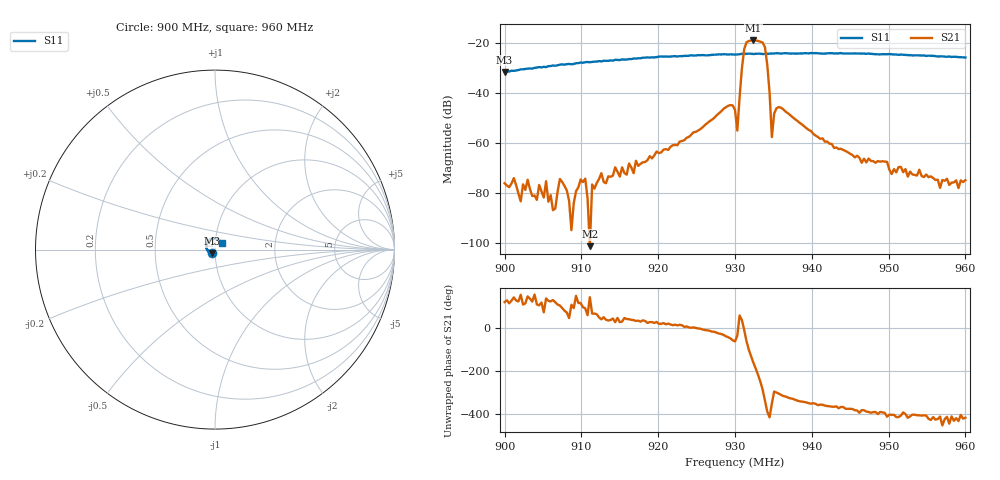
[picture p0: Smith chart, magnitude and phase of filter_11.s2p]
!File created by NanoVNA-F V2
# Hz S RI R 50
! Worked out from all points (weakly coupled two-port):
!   201 points, 900 MHz to 960 MHz, reference 50 ohm
!   highest |S21| = -18.85 dB at 932.4 MHz (marker M1); lowest = -101.3 dB at 911.1 MHz (marker M2)
!   lowest |S11| = -31.5 dB at 900 MHz (marker M3), VSWR 1.05, Z = 48.4 - j2.09 ohm
!   |S11| at or under -10 dB: start of sweep to end of sweep
!   S12 and S22 are empty: the file has one direction only
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9e8  -0.0154 -0.0216  -8.3e-05 0.000133  0 0  0 0
9.066e8  -0.0331 -0.0128  -2.5e-05 4.2e-05  0 0  0 0
9.072e8  -0.0353 -0.0125  -5.2e-05 0.000184  0 0  0 0
9.09e8  -0.0377 -0.00801  -4e-06 6.2e-05  0 0  0 0
9.102e8  -0.0402 -0.00593  -2.3e-05 0.000164  0 0  0 0
9.111e8  -0.0415 -0.0037  -7e-06 5e-06  0 0  0 0
9.126e8  -0.0433 9.2e-05  0.000187 0.000166  0 0  0 0
9.132e8  -0.0444 0.00295  0.000121 0.0001  0 0  0 0
9.201e8  -0.0492 0.0228  0.000592 0.000216  0 0  0 0
9.3e8  -0.0342 0.0486  0.00222 -0.00406  0 0  0 0
9.303e8  -0.0338 0.0492  0.00147 -0.00101  0 0  0 0
9.312e8  -0.0343 0.0516  0.0758 -0.0115  0 0  0 0
9.324e8  -0.03 0.0531  -0.1077 -0.0375  0 0  0 0
9.339e8  -0.0257 0.0559  0.076 0.035  0 0  0 0
9.345e8  -0.0256 0.0567  0.00602 -0.00842  0 0  0 0
9.348e8  -0.0245 0.0574  0.0013 0.000218  0 0  0 0
9.351e8  -0.0243 0.0577  0.0016 0.00358  0 0  0 0
9.357e8  -0.0229 0.0587  0.00294 0.0044  0 0  0 0
9.402e8  -0.012 0.0623  0.0015 0.000311  0 0  0 0
9.501e8  0.0175 0.0583  0.00022 -0.000194  0 0  0 0
9.567e8  0.0321 0.0444  8e-05 -9.8e-05  0 0  0 0
9.6e8  0.0386 0.0347  0.000102 -0.000149  0 0  0 0
